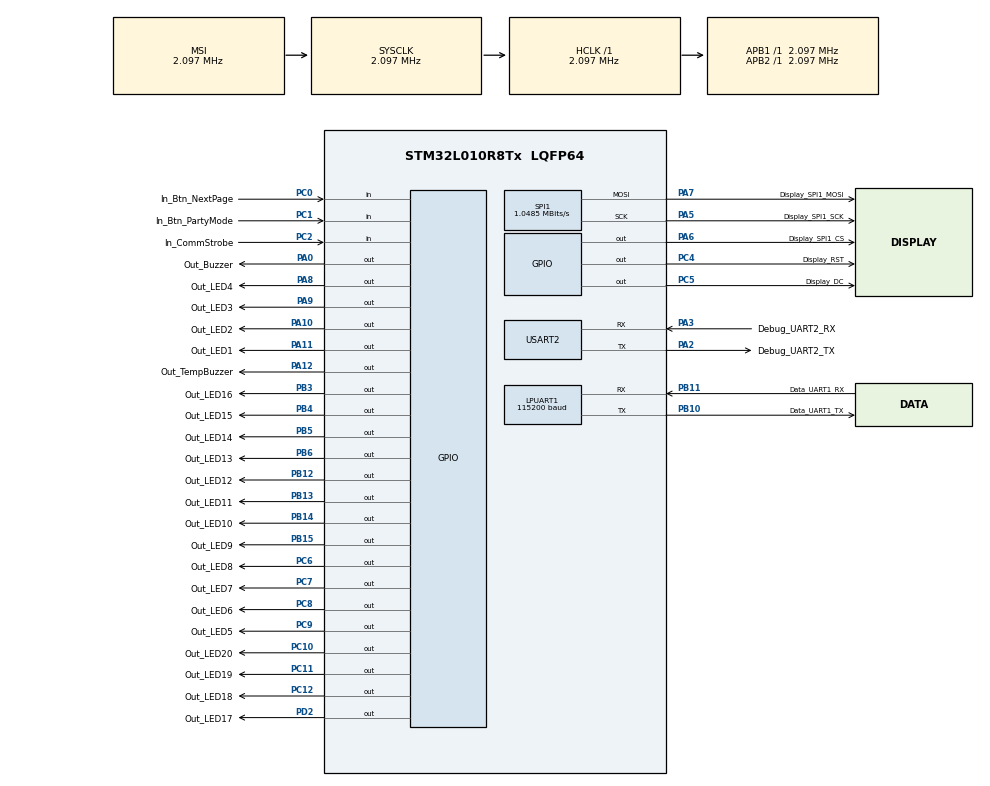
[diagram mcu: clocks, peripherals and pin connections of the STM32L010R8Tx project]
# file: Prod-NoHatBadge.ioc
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LPTIM1.ClockPrescaler=LPTIM_PRESCALER_DIV2
LPUART1.BaudRate=115200
LPUART1.OneBitSampling=UART_ONE_BIT_SAMPLE_DISABLE
LPUART1.OverrunDisableParam=UART_ADVFEATURE_OVERRUN_DISABLE
LPUART1.WordLength=UART_WORDLENGTH_8B
Mcu.Family=STM32L0
Mcu.Name=STM32L010R8Tx
Mcu.Package=LQFP64
NVIC.LPTIM1_IRQn=true\:0\:0\:false\:false\:true\:true\:true\:true
PA0.GPIO_Label=Out_Buzzer
PA0.Signal=GPIO_Output
PA10.GPIO_Label=Out_LED2
PA10.Signal=GPIO_Output
PA11.GPIO_Label=Out_LED1
PA11.Signal=GPIO_Output
PA12.GPIO_Label=Out_TempBuzzer
PA12.Signal=GPIO_Output
PA13.Mode=Serial_Wire
PA13.Signal=SYS_SWDIO
PA14.Mode=Serial_Wire
PA14.Signal=SYS_SWCLK
PA2.GPIO_Label=Debug_UART2_TX
PA2.Mode=Asynchronous
PA2.Signal=USART2_TX
PA3.GPIO_Label=Debug_UART2_RX
PA3.Mode=Asynchronous
PA3.Signal=USART2_RX
PA5.GPIO_Label=Display_SPI1_SCK
PA5.Mode=TX_Only_Simplex_Unidirect_Master
PA5.Signal=SPI1_SCK
PA6.GPIO_Label=Display_SPI1_CS
PA6.Signal=GPIO_Output
PA7.GPIO_Label=Display_SPI1_MOSI
PA7.Mode=TX_Only_Simplex_Unidirect_Master
PA7.Signal=SPI1_MOSI
PA8.GPIO_Label=Out_LED4
PA8.Signal=GPIO_Output
PA9.GPIO_Label=Out_LED3
PA9.Signal=GPIO_Output
PB10.GPIO_Label=Data_UART1_TX
PB10.Mode=Asynchronous
PB10.Signal=LPUART1_TX
PB11.GPIO_Label=Data_UART1_RX
PB11.Mode=Asynchronous
PB11.Signal=LPUART1_RX
PB12.GPIO_Label=Out_LED12
PB12.Signal=GPIO_Output
PB13.GPIO_Label=Out_LED11
PB13.Signal=GPIO_Output
PB14.GPIO_Label=Out_LED10
PB14.Signal=GPIO_Output
PB15.GPIO_Label=Out_LED9
PB15.Signal=GPIO_Output
PB3.GPIO_Label=Out_LED16
PB3.Signal=GPIO_Output
PB4.GPIO_Label=Out_LED15
PB4.Signal=GPIO_Output
PB5.GPIO_Label=Out_LED14
PB5.Signal=GPIO_Output
PB6.GPIO_Label=Out_LED13
PB6.Signal=GPIO_Output
PC0.GPIO_Label=In_Btn_NextPage
PC0.GPIO_PuPd=GPIO_NOPULL
PC0.Signal=GPIO_Input
PC1.GPIO_Label=In_Btn_PartyMode
PC1.GPIO_PuPd=GPIO_NOPULL
PC1.Signal=GPIO_Input
PC10.GPIO_Label=Out_LED20
PC10.Signal=GPIO_Output
PC11.GPIO_Label=Out_LED19
PC11.Signal=GPIO_Output
PC12.GPIO_Label=Out_LED18
PC12.Signal=GPIO_Output
PC2.GPIO_Label=In_CommStrobe
PC2.Signal=GPIO_Input
PC4.GPIO_Label=Display_RST
PC4.Signal=GPIO_Output
PC5.GPIO_Label=Display_DC
PC5.Signal=GPIO_Output
PC6.GPIO_Label=Out_LED8
PC6.Signal=GPIO_Output
PC7.GPIO_Label=Out_LED7
PC7.Signal=GPIO_Output
PC8.GPIO_Label=Out_LED6
PC8.Signal=GPIO_Output
PC9.GPIO_Label=Out_LED5
PC9.Signal=GPIO_Output
PD2.GPIO_Label=Out_LED17
PD2.Signal=GPIO_Output
ProjectManager.HeapSize=0x200
ProjectManager.StackSize=0x400
ProjectManager.TargetToolchain=STM32CubeIDE
RCC.AHBFreq_Value=2097000
RCC.APB1Freq_Value=2097000
RCC.APB1TimFreq_Value=2097000
RCC.APB2Freq_Value=2097000
RCC.APB2TimFreq_Value=2097000
RCC.HSE_VALUE=8000000
RCC.HSI16_VALUE=16000000
RCC.HSI_VALUE=16000000
RCC.LSE_VALUE=32768
RCC.MSI_VALUE=2097000
RCC.SYSCLKFreq_VALUE=2097000
RCC.VCOOutputFreq_Value=48000000
SPI1.CalculateBaudRate=1.0485 MBits/s
SPI1.Direction=SPI_DIRECTION_2LINES
SPI1.Mode=SPI_MODE_MASTER
SPI1.VirtualType=VM_MASTER
USART2.OverrunDisableParam=ADVFEATURE_OVERRUN_DISABLE
USART2.VirtualMode-Asynchronous=VM_ASYNC
VP_LPTIM1_VS_LPTIM_counterModeInternalClock.Mode=Counts__internal_clock_event_00
board=custom

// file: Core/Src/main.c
/* USER CODE BEGIN Header */
/**
  ******************************************************************************
  * @file           : main.c
  * @brief          : Main program body
  ******************************************************************************
  * @attention
  *
  * Copyright (c) 2023 STMicroelectronics.
  * All rights reserved.
  *
  * This software is licensed under terms that can be found in the LICENSE file
  * in the root directory of this software component.
  * If no LICENSE file comes with this software, it is provided AS-IS.
  *
  ******************************************************************************
  */
/* USER CODE END Header */
#include "main.h"

/* USER CODE BEGIN Includes */
#include "Display.h"
#include "Comm.h"
#include "Io.h"
#include "Appl.h"
#include <stdlib.h>
#include "eeprom.h"

/* USER CODE END Includes */

LPTIM_HandleTypeDef hlptim1;

UART_HandleTypeDef hlpuart1;
UART_HandleTypeDef huart2;

SPI_HandleTypeDef hspi1;

void SystemClock_Config(void);
static void MX_GPIO_Init(void);
static void MX_LPUART1_UART_Init(void);
static void MX_SPI1_Init(void);
static void MX_USART2_UART_Init(void);
static void MX_LPTIM1_Init(void);

/* USER CODE BEGIN 0 */
int _write(int file, char *ptr, int len)
{
#ifdef DEBUG
  HAL_UART_Transmit(&huart2, (uint8_t*)ptr, len, HAL_MAX_DELAY);
#endif
  return 0;
}
/* USER CODE END 0 */

int main(void)
{

  /* MCU Configuration--------------------------------------------------------*/

  /* Reset of all peripherals, Initializes the Flash interface and the Systick. */
  HAL_Init();

  /* Configure the system clock */
  SystemClock_Config();

  /* Initialize all configured peripherals */
  MX_GPIO_Init();
  MX_LPUART1_UART_Init();
  MX_SPI1_Init();
  MX_USART2_UART_Init();
  MX_LPTIM1_Init();
  /* USER CODE BEGIN 2 */
  HAL_FLASH_Unlock();
#ifdef DEBUG
  EE_Format();
#endif
  HAL_LPTIM_TimeOut_Start_IT(&hlptim1,1,IO_TIMER_TIMEOUT);
  EE_Init();
  Io_Init();
  Comm_Init();
  Appl_Init();
  /* USER CODE END 2 */

  /* Infinite loop */
  /* USER CODE BEGIN WHILE */
  while (1)
  {
    /* Run Display Manager */
    Appl_Mng();
    /* Run Communication Manager (blocking for ~15 ms) */
    Comm_Mng();
    /* Wait max 5 ms */
	  HAL_Delay(rand() % 5);
    /* USER CODE END WHILE */

  }
}

void SystemClock_Config(void)
{
  RCC_OscInitTypeDef RCC_OscInitStruct = {0};
  RCC_ClkInitTypeDef RCC_ClkInitStruct = {0};
  RCC_PeriphCLKInitTypeDef PeriphClkInit = {0};

  /** Configure the main internal regulator output voltage
  */
  __HAL_PWR_VOLTAGESCALING_CONFIG(PWR_REGULATOR_VOLTAGE_SCALE1);

  /** Initializes the RCC Oscillators according to the specified parameters
  * in the RCC_OscInitTypeDef structure.
  */
  RCC_OscInitStruct.OscillatorType = RCC_OSCILLATORTYPE_MSI;
  RCC_OscInitStruct.MSIState = RCC_MSI_ON;
  RCC_OscInitStruct.MSICalibrationValue = 0;
  RCC_OscInitStruct.MSIClockRange = RCC_MSIRANGE_5;
  RCC_OscInitStruct.PLL.PLLState = RCC_PLL_NONE;
  if (HAL_RCC_OscConfig(&RCC_OscInitStruct) != HAL_OK)
  {
    Error_Handler();
  }

  /** Initializes the CPU, AHB and APB buses clocks
  */
  RCC_ClkInitStruct.ClockType = RCC_CLOCKTYPE_HCLK|RCC_CLOCKTYPE_SYSCLK
                              |RCC_CLOCKTYPE_PCLK1|RCC_CLOCKTYPE_PCLK2;
  RCC_ClkInitStruct.SYSCLKSource = RCC_SYSCLKSOURCE_MSI;
  RCC_ClkInitStruct.AHBCLKDivider = RCC_SYSCLK_DIV1;
  RCC_ClkInitStruct.APB1CLKDivider = RCC_HCLK_DIV1;
  RCC_ClkInitStruct.APB2CLKDivider = RCC_HCLK_DIV1;

  if (HAL_RCC_ClockConfig(&RCC_ClkInitStruct, FLASH_LATENCY_0) != HAL_OK)
  {
    Error_Handler();
  }
  PeriphClkInit.PeriphClockSelection = RCC_PERIPHCLK_USART2|RCC_PERIPHCLK_LPUART1
                              |RCC_PERIPHCLK_LPTIM1;
  PeriphClkInit.Usart2ClockSelection = RCC_USART2CLKSOURCE_PCLK1;
  PeriphClkInit.Lpuart1ClockSelection = RCC_LPUART1CLKSOURCE_PCLK1;
  PeriphClkInit.LptimClockSelection = RCC_LPTIM1CLKSOURCE_PCLK;

  if (HAL_RCCEx_PeriphCLKConfig(&PeriphClkInit) != HAL_OK)
  {
    Error_Handler();
  }
}

static void MX_LPTIM1_Init(void)
{

  hlptim1.Instance = LPTIM1;
  hlptim1.Init.Clock.Source = LPTIM_CLOCKSOURCE_APBCLOCK_LPOSC;
  hlptim1.Init.Clock.Prescaler = LPTIM_PRESCALER_DIV2;
  hlptim1.Init.Trigger.Source = LPTIM_TRIGSOURCE_SOFTWARE;
  hlptim1.Init.OutputPolarity = LPTIM_OUTPUTPOLARITY_HIGH;
  hlptim1.Init.UpdateMode = LPTIM_UPDATE_IMMEDIATE;
  hlptim1.Init.CounterSource = LPTIM_COUNTERSOURCE_INTERNAL;
  if (HAL_LPTIM_Init(&hlptim1) != HAL_OK)
  {
    Error_Handler();
  }

}

static void MX_LPUART1_UART_Init(void)
{

  hlpuart1.Instance = LPUART1;
  hlpuart1.Init.BaudRate = 115200;
  hlpuart1.Init.WordLength = UART_WORDLENGTH_8B;
  hlpuart1.Init.StopBits = UART_STOPBITS_1;
  hlpuart1.Init.Parity = UART_PARITY_NONE;
  hlpuart1.Init.Mode = UART_MODE_TX_RX;
  hlpuart1.Init.HwFlowCtl = UART_HWCONTROL_NONE;
  hlpuart1.Init.OneBitSampling = UART_ONE_BIT_SAMPLE_DISABLE;
  hlpuart1.AdvancedInit.AdvFeatureInit = UART_ADVFEATURE_RXOVERRUNDISABLE_INIT;
  hlpuart1.AdvancedInit.OverrunDisable = UART_ADVFEATURE_OVERRUN_DISABLE;
  if (HAL_UART_Init(&hlpuart1) != HAL_OK)
  {
    Error_Handler();
  }

}

static void MX_USART2_UART_Init(void)
{

  huart2.Instance = USART2;
  huart2.Init.BaudRate = 115200;
  huart2.Init.WordLength = UART_WORDLENGTH_8B;
  huart2.Init.StopBits = UART_STOPBITS_1;
  huart2.Init.Parity = UART_PARITY_NONE;
  huart2.Init.Mode = UART_MODE_TX_RX;
  huart2.Init.HwFlowCtl = UART_HWCONTROL_NONE;
  huart2.Init.OverSampling = UART_OVERSAMPLING_16;
  huart2.Init.OneBitSampling = UART_ONE_BIT_SAMPLE_DISABLE;
  huart2.AdvancedInit.AdvFeatureInit = UART_ADVFEATURE_RXOVERRUNDISABLE_INIT;
  huart2.AdvancedInit.OverrunDisable = UART_ADVFEATURE_OVERRUN_DISABLE;
  if (HAL_UART_Init(&huart2) != HAL_OK)
  {
    Error_Handler();
  }

}

static void MX_SPI1_Init(void)
{

  /* SPI1 parameter configuration*/
  hspi1.Instance = SPI1;
  hspi1.Init.Mode = SPI_MODE_MASTER;
  hspi1.Init.Direction = SPI_DIRECTION_2LINES;
  hspi1.Init.DataSize = SPI_DATASIZE_8BIT;
  hspi1.Init.CLKPolarity = SPI_POLARITY_LOW;
  hspi1.Init.CLKPhase = SPI_PHASE_1EDGE;
  hspi1.Init.NSS = SPI_NSS_SOFT;
  hspi1.Init.BaudRatePrescaler = SPI_BAUDRATEPRESCALER_2;
  hspi1.Init.FirstBit = SPI_FIRSTBIT_MSB;
  hspi1.Init.TIMode = SPI_TIMODE_DISABLE;
  hspi1.Init.CRCCalculation = SPI_CRCCALCULATION_DISABLE;
  hspi1.Init.CRCPolynomial = 7;
  if (HAL_SPI_Init(&hspi1) != HAL_OK)
  {
    Error_Handler();
  }

}

static void MX_GPIO_Init(void)
{
  GPIO_InitTypeDef GPIO_InitStruct = {0};

  /* GPIO Ports Clock Enable */
  __HAL_RCC_GPIOC_CLK_ENABLE();
  __HAL_RCC_GPIOA_CLK_ENABLE();
  __HAL_RCC_GPIOB_CLK_ENABLE();
  __HAL_RCC_GPIOD_CLK_ENABLE();

  /*Configure GPIO pin Output Level */
  HAL_GPIO_WritePin(GPIOA, Out_Buzzer_Pin|Display_SPI1_CS_Pin|Out_LED4_Pin|Out_LED3_Pin
                          |Out_LED2_Pin|Out_LED1_Pin|Out_TempBuzzer_Pin, GPIO_PIN_RESET);

  /*Configure GPIO pin Output Level */
  HAL_GPIO_WritePin(GPIOC, Display_RST_Pin|Display_DC_Pin|Out_LED8_Pin|Out_LED7_Pin
                          |Out_LED6_Pin|Out_LED5_Pin|Out_LED20_Pin|Out_LED19_Pin
                          |Out_LED18_Pin, GPIO_PIN_RESET);

  /*Configure GPIO pin Output Level */
  HAL_GPIO_WritePin(GPIOB, Out_LED12_Pin|Out_LED11_Pin|Out_LED10_Pin|Out_LED9_Pin
                          |Out_LED16_Pin|Out_LED15_Pin|Out_LED14_Pin|Out_LED13_Pin, GPIO_PIN_RESET);

  /*Configure GPIO pin Output Level */
  HAL_GPIO_WritePin(Out_LED17_GPIO_Port, Out_LED17_Pin, GPIO_PIN_RESET);

  /*Configure GPIO pins : In_Btn_NextPage_Pin In_Btn_PartyMode_Pin In_CommStrobe_Pin */
  GPIO_InitStruct.Pin = In_Btn_NextPage_Pin|In_Btn_PartyMode_Pin|In_CommStrobe_Pin;
  GPIO_InitStruct.Mode = GPIO_MODE_INPUT;
  GPIO_InitStruct.Pull = GPIO_NOPULL;
  HAL_GPIO_Init(GPIOC, &GPIO_InitStruct);

  /*Configure GPIO pins : Out_Buzzer_Pin Display_SPI1_CS_Pin Out_LED4_Pin Out_LED3_Pin
                           Out_LED2_Pin Out_LED1_Pin Out_TempBuzzer_Pin */
  GPIO_InitStruct.Pin = Out_Buzzer_Pin|Display_SPI1_CS_Pin|Out_LED4_Pin|Out_LED3_Pin
                          |Out_LED2_Pin|Out_LED1_Pin|Out_TempBuzzer_Pin;
  GPIO_InitStruct.Mode = GPIO_MODE_OUTPUT_PP;
  GPIO_InitStruct.Pull = GPIO_NOPULL;
  GPIO_InitStruct.Speed = GPIO_SPEED_FREQ_LOW;
  HAL_GPIO_Init(GPIOA, &GPIO_InitStruct);

  /*Configure GPIO pins : Display_RST_Pin Display_DC_Pin Out_LED8_Pin Out_LED7_Pin
                           Out_LED6_Pin Out_LED5_Pin Out_LED20_Pin Out_LED19_Pin
                           Out_LED18_Pin */
  GPIO_InitStruct.Pin = Display_RST_Pin|Display_DC_Pin|Out_LED8_Pin|Out_LED7_Pin
                          |Out_LED6_Pin|Out_LED5_Pin|Out_LED20_Pin|Out_LED19_Pin
                          |Out_LED18_Pin;
  GPIO_InitStruct.Mode = GPIO_MODE_OUTPUT_PP;
  GPIO_InitStruct.Pull = GPIO_NOPULL;
  GPIO_InitStruct.Speed = GPIO_SPEED_FREQ_LOW;
  HAL_GPIO_Init(GPIOC, &GPIO_InitStruct);

  /*Configure GPIO pins : Out_LED12_Pin Out_LED11_Pin Out_LED10_Pin Out_LED9_Pin
                           Out_LED16_Pin Out_LED15_Pin Out_LED14_Pin Out_LED13_Pin */
  GPIO_InitStruct.Pin = Out_LED12_Pin|Out_LED11_Pin|Out_LED10_Pin|Out_LED9_Pin
                          |Out_LED16_Pin|Out_LED15_Pin|Out_LED14_Pin|Out_LED13_Pin;
  GPIO_InitStruct.Mode = GPIO_MODE_OUTPUT_PP;
  GPIO_InitStruct.Pull = GPIO_NOPULL;
  GPIO_InitStruct.Speed = GPIO_SPEED_FREQ_LOW;
  HAL_GPIO_Init(GPIOB, &GPIO_InitStruct);

  /*Configure GPIO pin : Out_LED17_Pin */
  GPIO_InitStruct.Pin = Out_LED17_Pin;
  GPIO_InitStruct.Mode = GPIO_MODE_OUTPUT_PP;
  GPIO_InitStruct.Pull = GPIO_NOPULL;
  GPIO_InitStruct.Speed = GPIO_SPEED_FREQ_LOW;
  HAL_GPIO_Init(Out_LED17_GPIO_Port, &GPIO_InitStruct);

}

void Error_Handler(void)
{
  __disable_irq();
  while (1)
  {
  }
}
